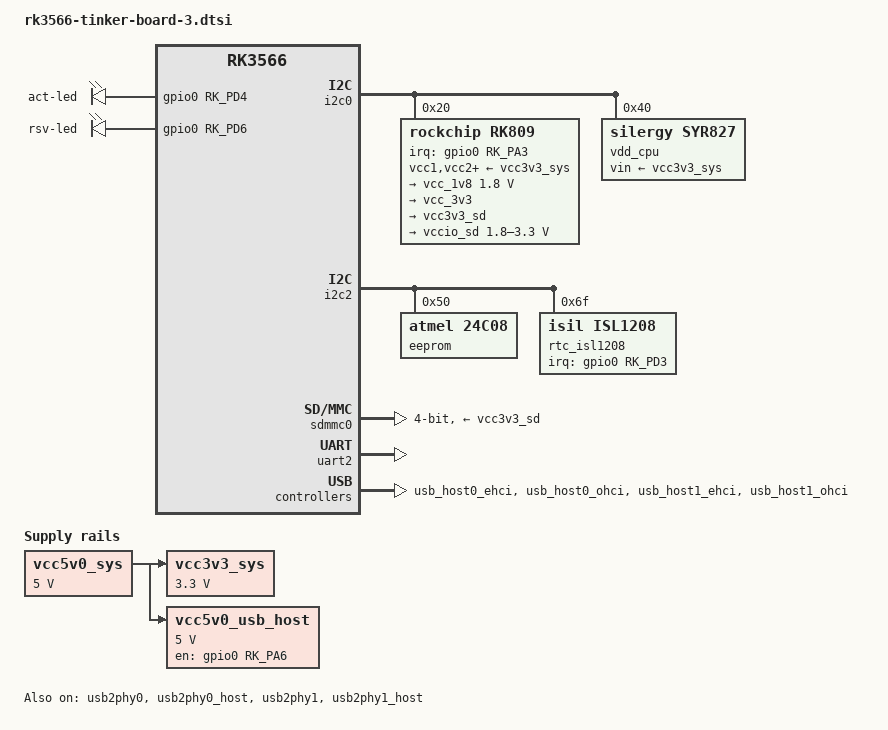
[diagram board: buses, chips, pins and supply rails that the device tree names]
// SPDX-License-Identifier: (GPL-2.0 OR MIT)
/*
 * Copyright (C) 2025 Michael Opdenacker <michael.opdenacker@rootcommit.com>
 */

#include <dt-bindings/gpio/gpio.h>
#include <dt-bindings/leds/common.h>
#include <dt-bindings/pinctrl/rockchip.h>
#include <dt-bindings/soc/rockchip,vop2.h>
#include "rk3566.dtsi"

/ {
	aliases {
		i2c0 = &i2c0;
		i2c2 = &i2c2;
		mmc1 = &sdmmc0;
		serial2 = &uart2;
	};

	chosen {
		stdout-path = "serial2:1500000n8";
	};

	gpio_leds: gpio-leds {
		compatible = "gpio-leds";

		act-led {
			gpios = <&gpio0 RK_PD4 GPIO_ACTIVE_HIGH>;
			linux,default-trigger="mmc1";
		};

		rsv-led {
			gpios = <&gpio0 RK_PD6 GPIO_ACTIVE_HIGH>;
			linux,default-trigger="none";
		};
	};

	vcc3v3_sys: regulator-3v3-vcc-sys {
		compatible = "regulator-fixed";
		regulator-name = "vcc3v3_sys";
		regulator-always-on;
		regulator-boot-on;
		regulator-min-microvolt = <3300000>;
		regulator-max-microvolt = <3300000>;
		vin-supply = <&vcc5v0_sys>;
	};

	vcc5v0_sys: regulator-5v0-vcc-sys {
		compatible = "regulator-fixed";
		regulator-name = "vcc5v0_sys";
		regulator-always-on;
		regulator-boot-on;
		regulator-min-microvolt = <5000000>;
		regulator-max-microvolt = <5000000>;
	};

	vcc5v0_usb_host: regulator-5v0-vcc-usb-host {
		compatible = "regulator-fixed";
		enable-active-high;
		gpios = <&gpio0 RK_PA6 GPIO_ACTIVE_HIGH>;
		pinctrl-names = "default";
		pinctrl-0 = <&u2_a_vbus_en>;
		regulator-name = "vcc5v0_usb_host";
		regulator-min-microvolt = <5000000>;
		regulator-max-microvolt = <5000000>;
		vin-supply = <&vcc5v0_sys>;
	};
};

&cpu0 {
	cpu-supply = <&vdd_cpu>;
};

&cpu1 {
	cpu-supply = <&vdd_cpu>;
};

&cpu2 {
	cpu-supply = <&vdd_cpu>;
};

&cpu3 {
	cpu-supply = <&vdd_cpu>;
};

&i2c0 {
	status = "okay";

	rk809: pmic@20 {
		compatible = "rockchip,rk809";
		reg = <0x20>;
		assigned-clocks = <&cru I2S1_MCLKOUT_TX>;
		assigned-clock-parents = <&cru CLK_I2S1_8CH_TX>;
		#clock-cells = <1>;
		clocks = <&cru I2S1_MCLKOUT_TX>;
		clock-names = "mclk";
		clock-output-names = "rk809-clkout1", "rk809-clkout2";
		interrupt-parent = <&gpio0>;
		interrupts = <RK_PA3 IRQ_TYPE_LEVEL_LOW>;
		pinctrl-names = "default";
		pinctrl-0 = <&pmic_int_l>, <&i2s1m0_mclk>;
		#sound-dai-cells = <0>;
		system-power-controller;
		wakeup-source;

		vcc1-supply = <&vcc3v3_sys>;
		vcc2-supply = <&vcc3v3_sys>;
		vcc3-supply = <&vcc3v3_sys>;
		vcc4-supply = <&vcc3v3_sys>;
		vcc5-supply = <&vcc3v3_sys>;
		vcc6-supply = <&vcc3v3_sys>;
		vcc7-supply = <&vcc3v3_sys>;
		vcc8-supply = <&vcc3v3_sys>;
		vcc9-supply = <&vcc3v3_sys>;

		regulators {
			vcc_1v8: DCDC_REG5 {
				regulator-name = "vcc_1v8";
				regulator-always-on;
				regulator-boot-on;
				regulator-min-microvolt = <1800000>;
				regulator-max-microvolt = <1800000>;

				regulator-state-mem {
					regulator-off-in-suspend;
				};
			};

			vcc_3v3: SWITCH_REG1 {
				regulator-name = "vcc_3v3";
				regulator-always-on;
				regulator-boot-on;

				regulator-state-mem {
					regulator-off-in-suspend;
				};
			};

			vcc3v3_sd: SWITCH_REG2 {
				regulator-name = "vcc3v3_sd";
				regulator-always-on;
				regulator-boot-on;

				regulator-state-mem {
					regulator-off-in-suspend;
				};
			};

			vccio_sd: LDO_REG5 {
				regulator-name = "vccio_sd";
				regulator-always-on;
				regulator-boot-on;
				regulator-min-microvolt = <1800000>;
				regulator-max-microvolt = <3300000>;

				regulator-state-mem {
					regulator-off-in-suspend;
				};
			};
		};
	};

	vdd_cpu: regulator@40 {
		compatible = "silergy,syr827";
		reg = <0x40>;
		fcs,suspend-voltage-selector = <1>;
		regulator-name = "vdd_cpu";
		regulator-always-on;
		regulator-boot-on;
		regulator-min-microvolt = <830000>;
		regulator-max-microvolt = <1200000>;
		regulator-ramp-delay = <2300>;
		vin-supply = <&vcc3v3_sys>;

		regulator-state-mem {
			regulator-off-in-suspend;
		};
	};
};

&i2c2 {
	status = "okay";

	eeprom@50 {
		compatible = "atmel,24c08";
		reg = <0x50>;
		pinctrl-names = "default";
		pinctrl-0 = <&eeprom_wc_n>;
	};

	rtc_isl1208: rtc@6f {
		compatible = "isil,isl1208";
		reg = <0x6f>;
		interrupt-names = "irq";
		interrupts-extended = <&gpio0 RK_PD3 IRQ_TYPE_EDGE_FALLING>;
		pinctrl-names = "default";
		pinctrl-0 = <&rtcic_int_l>;
	};
};

&pinctrl {
	eeprom {
		eeprom_wc_n: eeprom-wc-n {
			rockchip,pins = <3 RK_PC1 RK_FUNC_GPIO &pcfg_pull_up>;
		};
	};

	pmic {
		pmic_int_l: pmic-int-l {
			rockchip,pins = <0 RK_PA3 RK_FUNC_GPIO &pcfg_pull_up>;
		};
	};

	rtc {
		rtcic_int_l: rtcic-int-l {
			rockchip,pins = <0 RK_PD3 RK_FUNC_GPIO &pcfg_pull_up>;
		};
	};

	usb {
		u2_a_vbus_en: u2-a-vbus-en {
			rockchip,pins = <0 RK_PA6 RK_FUNC_GPIO &pcfg_pull_none>;
		};

		u3_a_vbus_en: u3-a-vbus-en {
			rockchip,pins = <0 RK_PA5 RK_FUNC_GPIO &pcfg_pull_none>;
		};
	};
};

&sdmmc0 {
	bus-width = <4>;
	cap-sd-highspeed;
	disable-wp;
	pinctrl-names = "default";
	pinctrl-0 = <&sdmmc0_bus4 &sdmmc0_clk &sdmmc0_cmd &sdmmc0_det>;
	vmmc-supply = <&vcc3v3_sd>;
	vqmmc-supply = <&vccio_sd>;
	status = "okay";
};

&uart2 {
	status = "okay";
};

&usb_host0_ehci {
	status = "okay";
};

&usb_host0_ohci {
	status = "okay";
};

&usb_host1_ehci {
	status = "okay";
};

&usb_host1_ohci {
	status = "okay";
};

&usb2phy0 {
	status = "okay";
};

&usb2phy0_host {
	phy-supply = <&vcc5v0_usb_host>;
	status = "okay";
};

&usb2phy1 {
	status = "okay";
};

&usb2phy1_host {
	phy-supply = <&vcc5v0_usb_host>;
	status = "okay";
};
